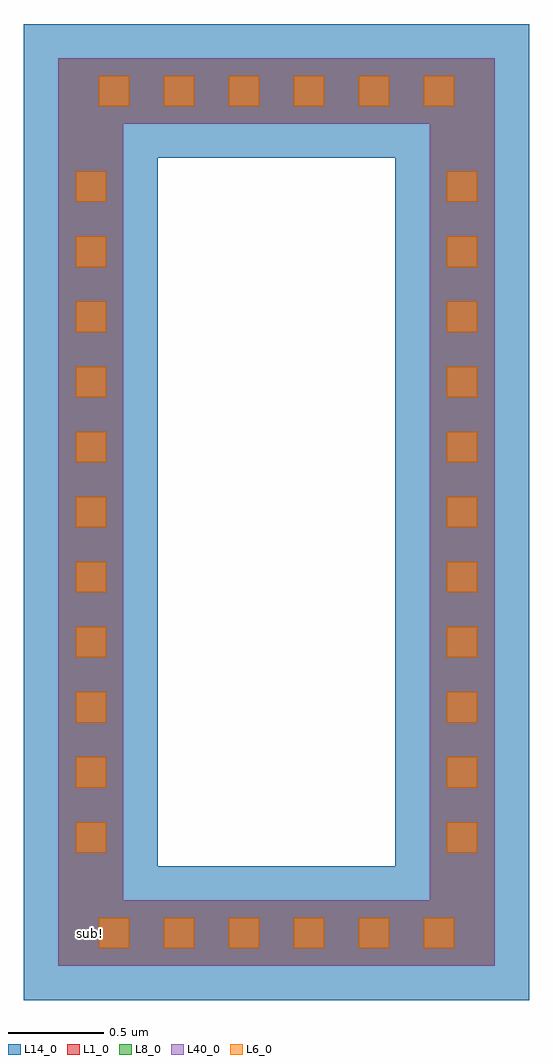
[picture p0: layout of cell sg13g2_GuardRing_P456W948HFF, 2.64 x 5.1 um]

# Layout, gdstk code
import gdstk
lib = gdstk.Library(unit=1e-6, precision=1e-09)
def R(c, l, rs):  # rectangles x0, y0, x1, y1
    for r in rs: c.add(gdstk.rectangle(r[:2], r[2:], *l))
def A(c, l, x, y, w, h, nx, ny, dx, dy):  # array of equal rectangles
    R(c, l, [(x+i*dx, y+j*dy, x+i*dx+w, y+j*dy+h) for i in range(nx) for j in range(ny)])
def P(c, l, *ps):  # polygons
    for p in ps: c.add(gdstk.Polygon(p, *l))
L1_0 = (1, 0)
L6_0 = (6, 0)
L8_0 = (8, 0)
L14_0 = (14, 0)
L40_0 = (40, 0)

sg13g2_guardring_p456w94 = lib.new_cell('sg13g2_GuardRing_P456W948HFF')
P(sg13g2_guardring_p456w94, L1_0, [(-1.14,-2.37),(-1.14,2.03),(-0.8,2.03),(-0.8,-2.03),(0.8,-2.03),(0.8,2.03),(-1.14,2.03),(-1.14,2.37),(1.14,2.37),(1.14,-2.37)])
A(sg13g2_guardring_p456w94, L6_0, -0.93, -2.28, 0.16, 0.16, 6, 2, 0.34, 4.4)
A(sg13g2_guardring_p456w94, L6_0, -1.05, -1.78, 0.16, 0.16, 1, 11, 0, 0.34)
A(sg13g2_guardring_p456w94, L6_0, 0.89, -1.78, 0.16, 0.16, 1, 11, 0, 0.34)
P(sg13g2_guardring_p456w94, L8_0, [(-1.14,-2.37),(-1.14,2.03),(-0.8,2.03),(-0.8,-2.03),(0.8,-2.03),(0.8,2.03),(-1.14,2.03),(-1.14,2.37),(1.14,2.37),(1.14,-2.37)])
P(sg13g2_guardring_p456w94, L14_0, [(-1.32,-2.55),(-1.32,1.85),(-0.62,1.85),(-0.62,-1.85),(0.62,-1.85),(0.62,1.85),(-1.32,1.85),(-1.32,2.55),(1.32,2.55),(1.32,-2.55)])
P(sg13g2_guardring_p456w94, L40_0, [(-1.14,-2.37),(-1.14,2.03),(-0.8,2.03),(-0.8,-2.03),(0.8,-2.03),(0.8,2.03),(-1.14,2.03),(-1.14,2.37),(1.14,2.37),(1.14,-2.37)])
sg13g2_guardring_p456w94.add(gdstk.Label('sub!', (-0.97,-2.2), layer=63, texttype=0))

lib.write_gds('sg13g2_GuardRing_P456W948HFF.gds')
